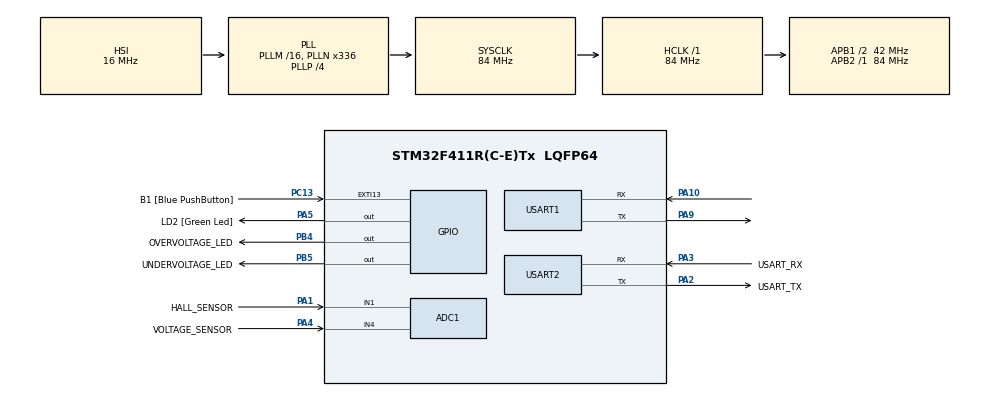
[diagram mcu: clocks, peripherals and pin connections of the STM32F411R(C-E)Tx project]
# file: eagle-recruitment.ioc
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ADC1.Channel-3\#ChannelRegularConversion=ADC_CHANNEL_1
ADC1.Channel-4\#ChannelRegularConversion=ADC_CHANNEL_4
ADC1.ContinuousConvMode=ENABLE
ADC1.DMAContinuousRequests=ENABLE
ADC1.DiscontinuousConvMode=DISABLE
ADC1.EnableAnalogWatchDog=false
ADC1.InjNumberOfConversion=0
ADC1.NbrOfConversion=2
ADC1.NbrOfConversionFlag=1
ADC1.Rank-3\#ChannelRegularConversion=1
ADC1.Rank-4\#ChannelRegularConversion=2
ADC1.SamplingTime-3\#ChannelRegularConversion=ADC_SAMPLETIME_480CYCLES
ADC1.SamplingTime-4\#ChannelRegularConversion=ADC_SAMPLETIME_480CYCLES
ADC1.ScanConvMode=ENABLE
ADC1.master=1
Dma.ADC1.2.Direction=DMA_PERIPH_TO_MEMORY
Dma.ADC1.2.FIFOMode=DMA_FIFOMODE_DISABLE
Dma.ADC1.2.Instance=DMA2_Stream0
Dma.ADC1.2.MemDataAlignment=DMA_MDATAALIGN_WORD
Dma.ADC1.2.MemInc=DMA_MINC_ENABLE
Dma.ADC1.2.Mode=DMA_CIRCULAR
Dma.ADC1.2.PeriphDataAlignment=DMA_PDATAALIGN_WORD
Dma.ADC1.2.PeriphInc=DMA_PINC_DISABLE
Dma.ADC1.2.Priority=DMA_PRIORITY_LOW
Dma.Request0=USART2_RX
Dma.Request1=USART2_TX
Dma.Request2=ADC1
Dma.USART2_RX.0.Direction=DMA_PERIPH_TO_MEMORY
Dma.USART2_RX.0.FIFOMode=DMA_FIFOMODE_ENABLE
Dma.USART2_RX.0.FIFOThreshold=DMA_FIFO_THRESHOLD_FULL
Dma.USART2_RX.0.Instance=DMA1_Stream5
Dma.USART2_RX.0.MemBurst=DMA_MBURST_SINGLE
Dma.USART2_RX.0.MemDataAlignment=DMA_MDATAALIGN_BYTE
Dma.USART2_RX.0.MemInc=DMA_MINC_ENABLE
Dma.USART2_RX.0.Mode=DMA_NORMAL
Dma.USART2_RX.0.PeriphBurst=DMA_PBURST_SINGLE
Dma.USART2_RX.0.PeriphDataAlignment=DMA_PDATAALIGN_BYTE
Dma.USART2_RX.0.PeriphInc=DMA_PINC_DISABLE
Dma.USART2_RX.0.Priority=DMA_PRIORITY_LOW
Dma.USART2_TX.1.Direction=DMA_MEMORY_TO_PERIPH
Dma.USART2_TX.1.FIFOMode=DMA_FIFOMODE_ENABLE
Dma.USART2_TX.1.FIFOThreshold=DMA_FIFO_THRESHOLD_FULL
Dma.USART2_TX.1.Instance=DMA1_Stream6
Dma.USART2_TX.1.MemBurst=DMA_MBURST_SINGLE
Dma.USART2_TX.1.MemDataAlignment=DMA_MDATAALIGN_BYTE
Dma.USART2_TX.1.MemInc=DMA_MINC_ENABLE
Dma.USART2_TX.1.Mode=DMA_NORMAL
Dma.USART2_TX.1.PeriphBurst=DMA_PBURST_SINGLE
Dma.USART2_TX.1.PeriphDataAlignment=DMA_PDATAALIGN_BYTE
Dma.USART2_TX.1.PeriphInc=DMA_PINC_DISABLE
Dma.USART2_TX.1.Priority=DMA_PRIORITY_LOW
Mcu.Family=STM32F4
Mcu.Name=STM32F411R(C-E)Tx
Mcu.Package=LQFP64
NVIC.ADC_IRQn=true\:0\:0\:false\:false\:true\:true\:true\:true
NVIC.DMA1_Stream5_IRQn=true\:0\:0\:false\:false\:true\:false\:true\:true
NVIC.DMA1_Stream6_IRQn=true\:0\:0\:false\:false\:true\:false\:true\:true
NVIC.DMA2_Stream0_IRQn=true\:0\:0\:false\:false\:true\:false\:true\:true
NVIC.EXTI15_10_IRQn=true\:0\:0\:false\:false\:true\:true\:true\:true
NVIC.PriorityGroup=NVIC_PRIORITYGROUP_0
NVIC.TIM2_IRQn=true\:0\:0\:false\:false\:true\:true\:true\:true
NVIC.USART2_IRQn=true\:0\:0\:false\:false\:true\:true\:true\:true
PA1.GPIO_Label=HALL_SENSOR
PA1.Signal=ADCx_IN1
PA10.Mode=Asynchronous
PA10.Signal=USART1_RX
PA13.GPIO_Label=TMS
PA13.Mode=Serial_Wire
PA13.Signal=SYS_JTMS-SWDIO
PA14.GPIO_Label=TCK
PA14.Mode=Serial_Wire
PA14.Signal=SYS_JTCK-SWCLK
PA2.GPIO_Label=USART_TX
PA2.Mode=Asynchronous
PA2.Signal=USART2_TX
PA3.GPIO_Label=USART_RX
PA3.Mode=Asynchronous
PA3.Signal=USART2_RX
PA4.GPIO_Label=VOLTAGE_SENSOR
PA4.Signal=ADCx_IN4
PA5.GPIO_Label=LD2 [Green Led]
PA5.Signal=GPIO_Output
PA9.Mode=Asynchronous
PA9.Signal=USART1_TX
PB3.Signal=SYS_JTDO-SWO
PB4.GPIO_Label=OVERVOLTAGE_LED
PB4.Signal=GPIO_Output
PB5.GPIO_Label=UNDERVOLTAGE_LED
PB5.Signal=GPIO_Output
PC13-ANTI_TAMP.GPIO_Label=B1 [Blue PushButton]
PC13-ANTI_TAMP.GPIO_ModeDefaultEXTI=GPIO_MODE_IT_FALLING
PC13-ANTI_TAMP.Signal=GPXTI13
PC14-OSC32_IN.Mode=LSE-External-Oscillator
PC14-OSC32_IN.Signal=RCC_OSC32_IN
PC15-OSC32_OUT.Mode=LSE-External-Oscillator
PC15-OSC32_OUT.Signal=RCC_OSC32_OUT
PH0\ -\ OSC_IN.Mode=HSE-External-Oscillator
PH0\ -\ OSC_IN.Signal=RCC_OSC_IN
PH1\ -\ OSC_OUT.Mode=HSE-External-Oscillator
PH1\ -\ OSC_OUT.Signal=RCC_OSC_OUT
ProjectManager.HeapSize=0x200
ProjectManager.StackSize=0x400
ProjectManager.TargetToolchain=STM32CubeIDE
RCC.48MHZClocksFreq_Value=84000000
RCC.AHBFreq_Value=84000000
RCC.APB1CLKDivider=RCC_HCLK_DIV2
RCC.APB1Freq_Value=42000000
RCC.APB1TimFreq_Value=84000000
RCC.APB2Freq_Value=84000000
RCC.APB2TimFreq_Value=84000000
RCC.CortexFreq_Value=84000000
RCC.FLatency-AdvancedSettings=FLASH_LATENCY_2
RCC.HCLKFreq_Value=84000000
RCC.HSE_VALUE=8000000
RCC.HSI_VALUE=16000000
RCC.PLLN=336
RCC.PLLP=RCC_PLLP_DIV4
RCC.SYSCLKFreq_VALUE=84000000
RCC.SYSCLKSource=RCC_SYSCLKSOURCE_PLLCLK
RCC.VCOOutputFreq_Value=336000000
SH.ADCx_IN1.0=ADC1_IN1,IN1
SH.ADCx_IN4.0=ADC1_IN4,IN4
TIM2.AutoReloadPreload=TIM_AUTORELOAD_PRELOAD_ENABLE
TIM2.Period=4200
TIM2.Prescaler=1000
USART1.VirtualMode=VM_ASYNC
USART2.VirtualMode=VM_ASYNC
VP_TIM2_VS_ClockSourceINT.Mode=Internal
board=NUCLEO-F411RE

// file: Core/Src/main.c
/* USER CODE BEGIN Header */
/* USER CODE END Header */
#include "main.h"

/* USER CODE BEGIN Includes */
#include <stdio.h>
#include <string.h>
#include <stdarg.h>

#include "main_fsm.h"
/* USER CODE END Includes */

ADC_HandleTypeDef hadc1;
DMA_HandleTypeDef hdma_adc1;

TIM_HandleTypeDef htim2;

UART_HandleTypeDef huart1;
UART_HandleTypeDef huart2;
DMA_HandleTypeDef hdma_usart2_rx;
DMA_HandleTypeDef hdma_usart2_tx;

/* USER CODE BEGIN PV */
uint32_t ADC_DMA_buffer[ADC_DMA_BUFFER_SIZE];
// note: the "private" variables in the above block, specifically htim2, hadc1 and ADC_DMA_buffer, are not actually private at all
// since i exported them in the main.h file under the "exported constants" block
/* USER CODE END PV */

void SystemClock_Config(void);
static void MX_GPIO_Init(void);
static void MX_DMA_Init(void);
static void MX_USART2_UART_Init(void);
static void MX_ADC1_Init(void);
static void MX_USART1_UART_Init(void);
static void MX_TIM2_Init(void);

int main(void)
{

  /* MCU Configuration--------------------------------------------------------*/

  /* Reset of all peripherals, Initializes the Flash interface and the Systick. */
  HAL_Init();

  /* Configure the system clock */
  SystemClock_Config();

  /* Initialize all configured peripherals */
  MX_GPIO_Init();
  MX_DMA_Init();
  MX_USART2_UART_Init();
  MX_ADC1_Init();
  MX_USART1_UART_Init();
  MX_TIM2_Init();
  /* USER CODE BEGIN 2 */
  if (HAL_TIM_Base_Start_IT(&htim2) != HAL_OK)
    Error_Handler();
  if (HAL_ADC_Start_DMA(&hadc1, ADC_DMA_buffer, ADC_DMA_BUFFER_SIZE) != HAL_OK)
    Error_Handler();
  /* USER CODE END 2 */

  /* Infinite loop */
  while (1) {

    /* USER CODE BEGIN 3 */
	main_fsm.state = run_state(main_fsm.state, &main_fsm.inputs);
  }
  /* USER CODE END 3 */
}

void SystemClock_Config(void)
{
  RCC_OscInitTypeDef RCC_OscInitStruct = {0};
  RCC_ClkInitTypeDef RCC_ClkInitStruct = {0};

  /** Configure the main internal regulator output voltage
  */
  __HAL_RCC_PWR_CLK_ENABLE();
  __HAL_PWR_VOLTAGESCALING_CONFIG(PWR_REGULATOR_VOLTAGE_SCALE1);

  /** Initializes the RCC Oscillators according to the specified parameters
  * in the RCC_OscInitTypeDef structure.
  */
  RCC_OscInitStruct.OscillatorType = RCC_OSCILLATORTYPE_HSI;
  RCC_OscInitStruct.HSIState = RCC_HSI_ON;
  RCC_OscInitStruct.HSICalibrationValue = RCC_HSICALIBRATION_DEFAULT;
  RCC_OscInitStruct.PLL.PLLState = RCC_PLL_ON;
  RCC_OscInitStruct.PLL.PLLSource = RCC_PLLSOURCE_HSI;
  RCC_OscInitStruct.PLL.PLLM = 16;
  RCC_OscInitStruct.PLL.PLLN = 336;
  RCC_OscInitStruct.PLL.PLLP = RCC_PLLP_DIV4;
  RCC_OscInitStruct.PLL.PLLQ = 4;
  if (HAL_RCC_OscConfig(&RCC_OscInitStruct) != HAL_OK)
  {
    Error_Handler();
  }

  /** Initializes the CPU, AHB and APB buses clocks
  */
  RCC_ClkInitStruct.ClockType = RCC_CLOCKTYPE_HCLK|RCC_CLOCKTYPE_SYSCLK
                              |RCC_CLOCKTYPE_PCLK1|RCC_CLOCKTYPE_PCLK2;
  RCC_ClkInitStruct.SYSCLKSource = RCC_SYSCLKSOURCE_PLLCLK;
  RCC_ClkInitStruct.AHBCLKDivider = RCC_SYSCLK_DIV1;
  RCC_ClkInitStruct.APB1CLKDivider = RCC_HCLK_DIV2;
  RCC_ClkInitStruct.APB2CLKDivider = RCC_HCLK_DIV1;

  if (HAL_RCC_ClockConfig(&RCC_ClkInitStruct, FLASH_LATENCY_2) != HAL_OK)
  {
    Error_Handler();
  }
}

static void MX_ADC1_Init(void)
{

  ADC_ChannelConfTypeDef sConfig = {0};

  /** Configure the global features of the ADC (Clock, Resolution, Data Alignment and number of conversion)
  */
  hadc1.Instance = ADC1;
  hadc1.Init.ClockPrescaler = ADC_CLOCK_SYNC_PCLK_DIV4;
  hadc1.Init.Resolution = ADC_RESOLUTION_12B;
  hadc1.Init.ScanConvMode = ENABLE;
  hadc1.Init.ContinuousConvMode = ENABLE;
  hadc1.Init.DiscontinuousConvMode = DISABLE;
  hadc1.Init.ExternalTrigConvEdge = ADC_EXTERNALTRIGCONVEDGE_NONE;
  hadc1.Init.ExternalTrigConv = ADC_SOFTWARE_START;
  hadc1.Init.DataAlign = ADC_DATAALIGN_RIGHT;
  hadc1.Init.NbrOfConversion = 2;
  hadc1.Init.DMAContinuousRequests = ENABLE;
  hadc1.Init.EOCSelection = ADC_EOC_SINGLE_CONV;
  if (HAL_ADC_Init(&hadc1) != HAL_OK)
  {
    Error_Handler();
  }

  /** Configure for the selected ADC regular channel its corresponding rank in the sequencer and its sample time.
  */
  sConfig.Channel = ADC_CHANNEL_1;
  sConfig.Rank = 1;
  sConfig.SamplingTime = ADC_SAMPLETIME_480CYCLES;
  if (HAL_ADC_ConfigChannel(&hadc1, &sConfig) != HAL_OK)
  {
    Error_Handler();
  }

  /** Configure for the selected ADC regular channel its corresponding rank in the sequencer and its sample time.
  */
  sConfig.Channel = ADC_CHANNEL_4;
  sConfig.Rank = 2;
  if (HAL_ADC_ConfigChannel(&hadc1, &sConfig) != HAL_OK)
  {
    Error_Handler();
  }

}

static void MX_TIM2_Init(void)
{

  TIM_ClockConfigTypeDef sClockSourceConfig = {0};
  TIM_MasterConfigTypeDef sMasterConfig = {0};

  /* USER CODE BEGIN TIM2_Init 1 */
  /*
   * clock freq is 84Mhz
   * prescale it by 1k -> prescaled freq is 84kHz
   * period = 420 cycles -> timer frequency = 84kHz / 4200 = 2kHz/100 = 1/5 kHz = 20Hz
   * => period = 50ms
   *
   * enabling AutoReloadPreload allows the timer to restart after it has been triggered
  */
  /* USER CODE END TIM2_Init 1 */
  htim2.Instance = TIM2;
  htim2.Init.Prescaler = 1000;
  htim2.Init.CounterMode = TIM_COUNTERMODE_UP;
  htim2.Init.Period = 4200;
  htim2.Init.ClockDivision = TIM_CLOCKDIVISION_DIV1;
  htim2.Init.AutoReloadPreload = TIM_AUTORELOAD_PRELOAD_ENABLE;
  if (HAL_TIM_Base_Init(&htim2) != HAL_OK)
  {
    Error_Handler();
  }
  sClockSourceConfig.ClockSource = TIM_CLOCKSOURCE_INTERNAL;
  if (HAL_TIM_ConfigClockSource(&htim2, &sClockSourceConfig) != HAL_OK)
  {
    Error_Handler();
  }
  sMasterConfig.MasterOutputTrigger = TIM_TRGO_RESET;
  sMasterConfig.MasterSlaveMode = TIM_MASTERSLAVEMODE_DISABLE;
  if (HAL_TIMEx_MasterConfigSynchronization(&htim2, &sMasterConfig) != HAL_OK)
  {
    Error_Handler();
  }

}

static void MX_USART1_UART_Init(void)
{

  huart1.Instance = USART1;
  huart1.Init.BaudRate = 115200;
  huart1.Init.WordLength = UART_WORDLENGTH_8B;
  huart1.Init.StopBits = UART_STOPBITS_1;
  huart1.Init.Parity = UART_PARITY_NONE;
  huart1.Init.Mode = UART_MODE_TX_RX;
  huart1.Init.HwFlowCtl = UART_HWCONTROL_NONE;
  huart1.Init.OverSampling = UART_OVERSAMPLING_16;
  if (HAL_UART_Init(&huart1) != HAL_OK)
  {
    Error_Handler();
  }

}

static void MX_USART2_UART_Init(void)
{

  huart2.Instance = USART2;
  huart2.Init.BaudRate = 115200;
  huart2.Init.WordLength = UART_WORDLENGTH_8B;
  huart2.Init.StopBits = UART_STOPBITS_1;
  huart2.Init.Parity = UART_PARITY_NONE;
  huart2.Init.Mode = UART_MODE_TX_RX;
  huart2.Init.HwFlowCtl = UART_HWCONTROL_NONE;
  huart2.Init.OverSampling = UART_OVERSAMPLING_16;
  if (HAL_UART_Init(&huart2) != HAL_OK)
  {
    Error_Handler();
  }

}

static void MX_DMA_Init(void)
{

  /* DMA controller clock enable */
  __HAL_RCC_DMA1_CLK_ENABLE();
  __HAL_RCC_DMA2_CLK_ENABLE();

  /* DMA interrupt init */
  /* DMA1_Stream5_IRQn interrupt configuration */
  HAL_NVIC_SetPriority(DMA1_Stream5_IRQn, 0, 0);
  HAL_NVIC_EnableIRQ(DMA1_Stream5_IRQn);
  /* DMA1_Stream6_IRQn interrupt configuration */
  HAL_NVIC_SetPriority(DMA1_Stream6_IRQn, 0, 0);
  HAL_NVIC_EnableIRQ(DMA1_Stream6_IRQn);
  /* DMA2_Stream0_IRQn interrupt configuration */
  HAL_NVIC_SetPriority(DMA2_Stream0_IRQn, 0, 0);
  HAL_NVIC_EnableIRQ(DMA2_Stream0_IRQn);

}

static void MX_GPIO_Init(void)
{
  GPIO_InitTypeDef GPIO_InitStruct = {0};

  /* GPIO Ports Clock Enable */
  __HAL_RCC_GPIOC_CLK_ENABLE();
  __HAL_RCC_GPIOH_CLK_ENABLE();
  __HAL_RCC_GPIOA_CLK_ENABLE();
  __HAL_RCC_GPIOB_CLK_ENABLE();

  /*Configure GPIO pin Output Level */
  HAL_GPIO_WritePin(LD2_GPIO_Port, LD2_Pin, GPIO_PIN_RESET);

  /*Configure GPIO pin Output Level */
  HAL_GPIO_WritePin(GPIOB, OVERVOLTAGE_LED_Pin|UNDERVOLTAGE_LED_Pin, GPIO_PIN_RESET);

  /*Configure GPIO pin : B1_Pin */
  GPIO_InitStruct.Pin = B1_Pin;
  GPIO_InitStruct.Mode = GPIO_MODE_IT_FALLING;
  GPIO_InitStruct.Pull = GPIO_NOPULL;
  HAL_GPIO_Init(B1_GPIO_Port, &GPIO_InitStruct);

  /*Configure GPIO pin : LD2_Pin */
  GPIO_InitStruct.Pin = LD2_Pin;
  GPIO_InitStruct.Mode = GPIO_MODE_OUTPUT_PP;
  GPIO_InitStruct.Pull = GPIO_NOPULL;
  GPIO_InitStruct.Speed = GPIO_SPEED_FREQ_LOW;
  HAL_GPIO_Init(LD2_GPIO_Port, &GPIO_InitStruct);

  /*Configure GPIO pins : OVERVOLTAGE_LED_Pin UNDERVOLTAGE_LED_Pin */
  GPIO_InitStruct.Pin = OVERVOLTAGE_LED_Pin|UNDERVOLTAGE_LED_Pin;
  GPIO_InitStruct.Mode = GPIO_MODE_OUTPUT_PP;
  GPIO_InitStruct.Pull = GPIO_NOPULL;
  GPIO_InitStruct.Speed = GPIO_SPEED_FREQ_LOW;
  HAL_GPIO_Init(GPIOB, &GPIO_InitStruct);

  /* EXTI interrupt init*/
  HAL_NVIC_SetPriority(EXTI15_10_IRQn, 0, 0);
  HAL_NVIC_EnableIRQ(EXTI15_10_IRQn);

}

/* USER CODE BEGIN 4 */
int UART_printf(const char* fmt, ...) {
	va_list args;
	va_start(args, fmt);

	static char buf[256];
	int bytes_written = vsnprintf(buf, 255, fmt, args);

	static const char* CRLF = "\r\n";
	static const int CRLF_len = 2;
	memcpy(buf+bytes_written, CRLF, CRLF_len);

	HAL_UART_Transmit(&huart2, (unsigned char*)buf, bytes_written+CRLF_len, 10);
	va_end(args);

	return bytes_written + CRLF_len;
}
/* USER CODE END 4 */

void Error_Handler(void)
{
  /* USER CODE BEGIN Error_Handler_Debug */
  UART_printf("Error occurred");
  __disable_irq();
  while(1);
  /* USER CODE END Error_Handler_Debug */
}

#ifdef  USE_FULL_ASSERT
/**
  * @brief  Reports the name of the source file and the source line number
  *         where the assert_param error has occurred.
  * @param  file: pointer to the source file name
  * @param  line: assert_param error line source number
  * @retval None
  */
void assert_failed(uint8_t *file, uint32_t line)
{
  /* USER CODE BEGIN 6 */
  UART_printf("Wrong parameters value: file %s on line %d\r\n", file, line);
  /* USER CODE END 6 */
}
#endif /* USE_FULL_ASSERT */
